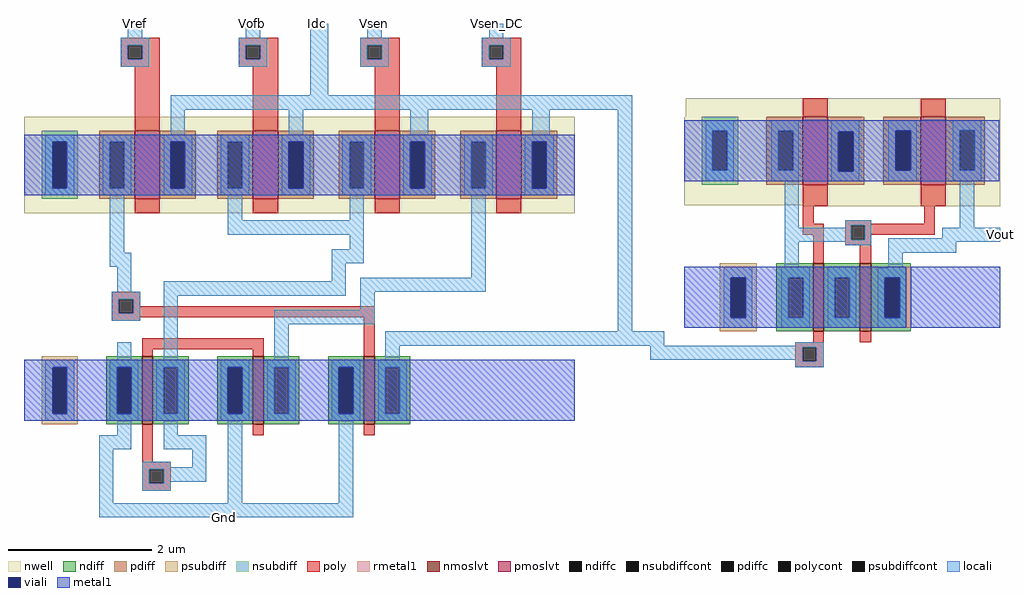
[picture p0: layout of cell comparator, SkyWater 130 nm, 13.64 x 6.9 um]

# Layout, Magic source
magic
tech sky130A
magscale 1 2
<< nwell >>
rect -250 -30 1290 240
<< pmoslvt >>
rect 60 10 130 200
rect 390 10 460 200
rect 730 10 800 200
rect 1070 10 1140 200
rect 1926 50 1996 240
rect 2256 50 2326 240
<< nmoslvt >>
rect 1956 -360 1986 -170
rect 2086 -360 2118 -170
rect 80 -620 110 -430
rect 390 -620 420 -430
rect 700 -620 730 -430
<< ndiff >>
rect -20 -460 80 -430
rect -20 -590 10 -460
rect 50 -590 80 -460
rect -20 -620 80 -590
rect 110 -460 210 -430
rect 110 -590 140 -460
rect 180 -590 210 -460
rect 110 -620 210 -590
rect 290 -460 390 -430
rect 290 -590 320 -460
rect 360 -590 390 -460
rect 290 -620 390 -590
rect 420 -460 520 -430
rect 420 -590 450 -460
rect 490 -590 520 -460
rect 420 -620 520 -590
rect 600 -460 700 -430
rect 600 -590 630 -460
rect 670 -590 700 -460
rect 600 -620 700 -590
rect 730 -460 830 -430
rect 730 -590 760 -460
rect 800 -590 830 -460
rect 730 -620 830 -590
<< pdiff >>
rect -40 170 60 200
rect -40 40 -10 170
rect 30 40 60 170
rect -40 10 60 40
rect 130 170 230 200
rect 130 40 160 170
rect 200 40 230 170
rect 130 10 230 40
rect 290 170 390 200
rect 290 40 320 170
rect 360 40 390 170
rect 290 10 390 40
rect 460 170 560 200
rect 460 40 490 170
rect 530 40 560 170
rect 460 10 560 40
rect 630 170 730 200
rect 630 40 660 170
rect 700 40 730 170
rect 630 10 730 40
rect 800 170 900 200
rect 800 40 830 170
rect 870 40 900 170
rect 800 10 900 40
rect 970 170 1070 200
rect 970 40 1000 170
rect 1040 40 1070 170
rect 970 10 1070 40
rect 1140 170 1240 200
rect 1140 40 1170 170
rect 1210 40 1240 170
rect 1140 10 1240 40
<< ndiffc >>
rect 10 -590 50 -460
rect 140 -590 180 -460
rect 320 -590 360 -460
rect 450 -590 490 -460
rect 630 -590 670 -460
rect 760 -590 800 -460
<< pdiffc >>
rect -10 40 30 170
rect 160 40 200 170
rect 320 40 360 170
rect 490 40 530 170
rect 660 40 700 170
rect 830 40 870 170
rect 1000 40 1040 170
rect 1170 40 1210 170
<< psubdiff >>
rect -200 -460 -100 -430
rect -200 -590 -170 -460
rect -130 -590 -100 -460
rect -200 -620 -100 -590
<< nsubdiff >>
rect -200 170 -100 200
rect -200 40 -170 170
rect -130 40 -100 170
rect -200 10 -100 40
<< psubdiffcont >>
rect -170 -590 -130 -460
<< nsubdiffcont >>
rect -170 40 -130 170
<< poly >>
rect 20 440 130 460
rect 20 400 40 440
rect 80 400 130 440
rect 20 380 130 400
rect 350 440 460 460
rect 350 400 370 440
rect 410 400 460 440
rect 350 380 460 400
rect 690 440 800 460
rect 690 400 710 440
rect 750 400 800 440
rect 690 380 800 400
rect 1030 440 1140 460
rect 1030 400 1050 440
rect 1090 400 1140 440
rect 1030 380 1140 400
rect 60 200 130 380
rect 390 200 460 380
rect 730 200 800 380
rect 1070 200 1140 380
rect 60 -30 130 10
rect 390 -30 460 10
rect 730 -30 800 10
rect 1070 -30 1140 10
rect -5 -270 75 -250
rect -5 -310 15 -270
rect 55 -290 75 -270
rect 55 -310 730 -290
rect -5 -320 730 -310
rect -5 -330 75 -320
rect 80 -410 420 -380
rect 80 -430 110 -410
rect 390 -430 420 -410
rect 700 -430 730 -320
rect 80 -725 110 -620
rect 390 -650 420 -620
rect 700 -650 730 -620
rect 80 -745 160 -725
rect 80 -785 100 -745
rect 140 -785 160 -745
rect 80 -805 160 -785
<< polycont >>
rect 40 400 80 440
rect 370 400 410 440
rect 710 400 750 440
rect 1050 400 1090 440
rect 15 -310 55 -270
rect 100 -785 140 -745
<< locali >>
rect 40 460 80 500
rect 370 460 410 500
rect 20 440 100 460
rect 20 400 40 440
rect 80 400 100 440
rect 20 380 100 400
rect 350 440 430 460
rect 350 400 370 440
rect 410 400 430 440
rect 350 380 430 400
rect 550 300 600 500
rect 710 460 750 500
rect 1050 460 1090 500
rect 690 440 770 460
rect 690 400 710 440
rect 750 400 770 440
rect 690 380 770 400
rect 1030 440 1110 460
rect 1030 400 1050 440
rect 1090 400 1110 440
rect 1030 380 1110 400
rect 160 260 1450 300
rect 160 190 200 260
rect 490 190 530 260
rect 830 190 880 260
rect 1170 190 1220 260
rect -190 170 -110 190
rect -190 40 -170 170
rect -130 40 -110 170
rect -190 20 -110 40
rect -30 170 50 190
rect -30 40 -10 170
rect 30 40 50 170
rect -30 20 50 40
rect 140 170 220 190
rect 140 40 160 170
rect 200 40 220 170
rect 140 20 220 40
rect 300 170 380 190
rect 300 40 320 170
rect 360 40 380 170
rect 300 20 380 40
rect 470 170 550 190
rect 470 40 490 170
rect 530 40 550 170
rect 470 20 550 40
rect 640 170 720 190
rect 640 40 660 170
rect 700 40 720 170
rect 640 20 720 40
rect 810 170 890 190
rect 810 40 830 170
rect 870 40 890 170
rect 810 20 890 40
rect 980 170 1060 190
rect 980 40 1000 170
rect 1040 40 1060 170
rect 980 20 1060 40
rect 1150 170 1230 190
rect 1150 40 1170 170
rect 1210 40 1230 170
rect 1150 20 1230 40
rect -10 -140 30 20
rect 320 -50 360 20
rect 660 -50 700 20
rect 320 -90 700 -50
rect 660 -130 700 -90
rect -10 -180 50 -140
rect 10 -250 50 -180
rect 610 -170 700 -130
rect 610 -220 650 -170
rect 1000 -210 1040 20
rect -5 -270 75 -250
rect -5 -310 15 -270
rect 55 -310 75 -270
rect -5 -330 75 -310
rect 140 -260 650 -220
rect 690 -250 1040 -210
rect 10 -440 50 -390
rect 140 -440 180 -260
rect 690 -300 730 -250
rect 450 -340 730 -300
rect 450 -440 490 -340
rect 1410 -360 1450 260
rect 760 -400 1540 -360
rect 760 -440 800 -400
rect 1500 -440 1660 -400
rect -190 -460 -110 -440
rect -190 -590 -170 -460
rect -130 -590 -110 -460
rect -190 -610 -110 -590
rect -10 -460 70 -440
rect -10 -590 10 -460
rect 50 -590 70 -460
rect -10 -610 70 -590
rect 120 -460 200 -440
rect 120 -590 140 -460
rect 180 -590 200 -460
rect 120 -610 200 -590
rect 300 -460 380 -440
rect 300 -590 320 -460
rect 360 -590 380 -460
rect 300 -610 380 -590
rect 430 -460 510 -440
rect 430 -590 450 -460
rect 490 -590 510 -460
rect 430 -610 510 -590
rect 610 -460 690 -440
rect 610 -590 630 -460
rect 670 -590 690 -460
rect 610 -610 690 -590
rect 740 -460 820 -440
rect 740 -590 760 -460
rect 800 -590 820 -460
rect 740 -610 820 -590
rect 10 -650 50 -610
rect -40 -690 50 -650
rect 140 -650 180 -610
rect 140 -690 260 -650
rect -40 -840 0 -690
rect 80 -740 160 -725
rect 220 -740 260 -690
rect 80 -745 260 -740
rect 80 -785 100 -745
rect 140 -780 260 -745
rect 140 -785 160 -780
rect 80 -805 160 -785
rect 320 -840 360 -610
rect 630 -840 670 -610
rect -40 -880 670 -840
<< viali >>
rect -170 40 -130 170
rect 160 40 200 170
rect 490 40 530 170
rect 830 40 870 170
rect 1170 40 1210 170
rect -170 -590 -130 -460
rect 10 -590 50 -460
rect 320 -590 360 -460
rect 630 -590 670 -460
<< metal1 >>
rect -250 170 1290 190
rect -250 40 -170 170
rect -130 40 160 170
rect 200 40 490 170
rect 530 40 830 170
rect 870 40 1170 170
rect 1210 40 1290 170
rect -250 20 1290 40
rect -250 -460 1290 -440
rect -250 -590 -170 -460
rect -130 -590 10 -460
rect 50 -590 320 -460
rect 360 -590 630 -460
rect 670 -590 1290 -460
rect -250 -610 1290 -590
use BUFFER  BUFFER_0
transform 1 0 2836 0 1 -200
box -1240 -260 -358 492
<< labels >>
rlabel space 2478 -90 2478 -90 3 Vout
port 4 e
rlabel locali 310 -880 310 -880 5 Gnd
port 6 s
rlabel locali 570 500 570 500 1 Idc
port 5 n
rlabel locali 60 500 60 500 1 Vref
port 7 n
rlabel locali 390 500 390 500 1 Vofb
port 8 n
rlabel locali 730 500 730 500 1 Vsen
port 9 n
rlabel locali 1070 500 1070 500 1 Vsen_DC
port 10 n
<< end >>

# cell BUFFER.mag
magic
tech sky130A
<< nwell >>
rect -618 219 -179 246
rect -620 96 -179 219
rect -455 95 -179 96
<< pmoslvt >>
rect -455 125 -420 220
rect -290 125 -255 220
<< nmoslvt >>
rect -440 -80 -425 15
rect -375 -80 -359 15
<< ndiff >>
rect -492 -5 -440 15
rect -492 -61 -475 -5
rect -454 -61 -440 -5
rect -492 -80 -440 -61
rect -425 -5 -375 15
rect -425 -61 -410 -5
rect -389 -61 -375 -5
rect -425 -80 -375 -61
rect -359 -5 -304 15
rect -359 -61 -340 -5
rect -319 -61 -304 -5
rect -359 -80 -304 -61
<< pdiff >>
rect -505 219 -455 220
rect -506 200 -455 219
rect -506 145 -489 200
rect -468 145 -455 200
rect -506 125 -455 145
rect -420 219 -370 220
rect -420 199 -369 219
rect -420 144 -405 199
rect -384 144 -369 199
rect -420 125 -369 144
rect -342 200 -290 220
rect -342 145 -325 200
rect -304 145 -290 200
rect -342 125 -290 145
rect -255 201 -200 220
rect -255 145 -235 201
rect -214 145 -200 201
rect -255 125 -200 145
<< ndiffc >>
rect -475 -61 -454 -5
rect -410 -61 -389 -5
rect -340 -61 -319 -5
<< pdiffc >>
rect -489 145 -468 200
rect -405 144 -384 199
rect -325 145 -304 200
rect -235 145 -214 201
<< psubdiff >>
rect -571 -5 -519 15
rect -571 -61 -555 -5
rect -534 -61 -519 -5
rect -571 -80 -519 -61
<< nsubdiff >>
rect -596 200 -545 220
rect -596 145 -581 200
rect -560 145 -545 200
rect -596 125 -545 145
<< psubdiffcont >>
rect -555 -61 -534 -5
<< nsubdiffcont >>
rect -581 145 -560 200
<< poly >>
rect -455 220 -420 246
rect -290 220 -255 245
rect -455 95 -420 125
rect -290 95 -255 125
rect -455 70 -439 95
rect -395 70 -359 75
rect -285 70 -270 95
rect -455 55 -425 70
rect -440 15 -425 55
rect -395 68 -270 70
rect -395 48 -387 68
rect -368 55 -270 68
rect -368 48 -359 55
rect -395 40 -359 48
rect -375 15 -359 40
rect -440 -95 -425 -80
rect -375 -95 -359 -80
rect -465 -102 -425 -95
rect -465 -122 -455 -102
rect -436 -122 -425 -102
rect -465 -130 -425 -122
<< polycont >>
rect -387 48 -368 68
rect -455 -122 -436 -102
<< locali >>
rect -590 200 -551 215
rect -590 145 -581 200
rect -560 145 -551 200
rect -590 130 -551 145
rect -499 200 -460 215
rect -499 145 -489 200
rect -468 145 -460 200
rect -499 130 -460 145
rect -415 199 -376 215
rect -415 144 -405 199
rect -384 144 -376 199
rect -415 130 -376 144
rect -335 200 -295 215
rect -335 145 -325 200
rect -304 145 -295 200
rect -335 130 -295 145
rect -245 201 -205 215
rect -245 145 -235 201
rect -214 145 -205 201
rect -245 130 -205 145
rect -480 65 -460 130
rect -395 68 -359 75
rect -395 65 -387 68
rect -480 48 -387 65
rect -368 48 -359 68
rect -235 65 -215 130
rect -260 50 -179 65
rect -480 45 -359 48
rect -480 10 -460 45
rect -395 40 -359 45
rect -335 45 -179 50
rect -335 30 -240 45
rect -335 10 -315 30
rect -565 -5 -525 10
rect -565 -61 -555 -5
rect -534 -61 -525 -5
rect -565 -75 -525 -61
rect -485 -5 -445 10
rect -485 -61 -475 -5
rect -454 -61 -445 -5
rect -485 -75 -445 -61
rect -420 -5 -380 10
rect -335 9 -310 10
rect -420 -61 -410 -5
rect -389 -61 -380 -5
rect -420 -75 -380 -61
rect -350 -5 -310 9
rect -350 -61 -340 -5
rect -319 -61 -310 -5
rect -350 -75 -310 -61
rect -465 -100 -425 -95
rect -620 -102 -425 -100
rect -620 -120 -455 -102
rect -465 -122 -455 -120
rect -436 -122 -425 -102
rect -465 -130 -425 -122
<< viali >>
rect -405 144 -384 199
rect -325 145 -304 200
rect -555 -61 -534 -5
rect -340 -61 -319 -5
<< metal1 >>
rect -620 200 -180 215
rect -620 199 -325 200
rect -620 144 -405 199
rect -384 145 -325 199
rect -304 145 -180 200
rect -384 144 -180 145
rect -620 130 -180 144
rect -620 -5 -310 10
rect -620 -61 -555 -5
rect -534 -61 -340 -5
rect -319 -61 -310 -5
rect -620 -75 -310 -61
rect -304 -75 -179 10
<< rmetal1 >>
rect -310 -75 -304 10
<< labels >>
rlabel metal1 -620 170 -620 170 7 Vdd
port 3 w
rlabel metal1 -620 -35 -620 -35 7 Gnd
port 4 w
rlabel locali -620 -110 -620 -110 7 in
port 1 w
rlabel locali -179 55 -179 55 3 out
port 2 e
<< end >>
